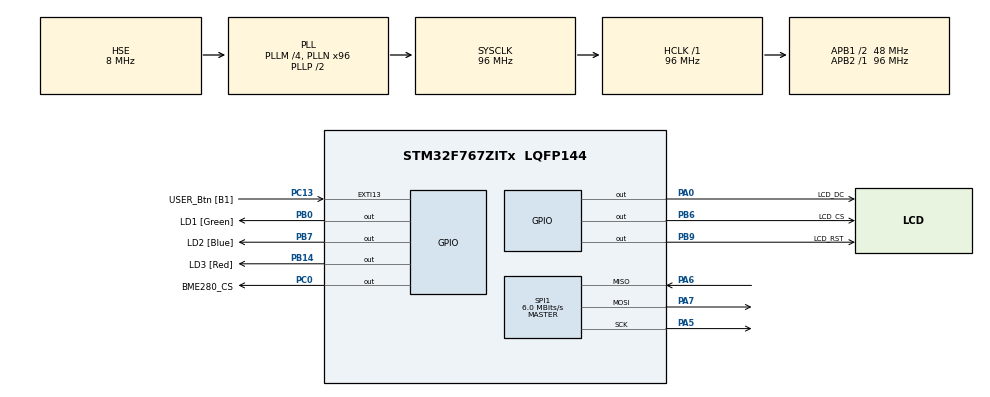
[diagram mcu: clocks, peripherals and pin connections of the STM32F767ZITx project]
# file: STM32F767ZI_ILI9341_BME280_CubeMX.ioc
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CORTEX_M7.default_mode_Activation=1
Mcu.Family=STM32F7
Mcu.Name=STM32F767ZITx
Mcu.Package=LQFP144
NVIC.PriorityGroup=NVIC_PRIORITYGROUP_4
NVIC.TIM6_DAC_IRQn=true\:0\:0\:false\:false\:true\:true\:true\:true
PA0/WKUP.GPIO_Label=LCD_DC
PA0/WKUP.Signal=GPIO_Output
PA13.GPIO_Label=TMS
PA13.Mode=Serial_Wire
PA13.Signal=SYS_JTMS-SWDIO
PA14.GPIO_Label=TCK
PA14.Mode=Serial_Wire
PA14.Signal=SYS_JTCK-SWCLK
PA5.Mode=Full_Duplex_Master
PA5.Signal=SPI1_SCK
PA6.Mode=Full_Duplex_Master
PA6.Signal=SPI1_MISO
PA7.Mode=Full_Duplex_Master
PA7.Signal=SPI1_MOSI
PB0.GPIO_Label=LD1 [Green]
PB0.Signal=GPIO_Output
PB14.GPIO_Label=LD3 [Red]
PB14.Signal=GPIO_Output
PB3.GPIO_Label=SWO
PB3.Signal=SYS_JTDO-SWO
PB6.GPIO_Label=LCD_CS
PB6.PinState=GPIO_PIN_SET
PB6.Signal=GPIO_Output
PB7.GPIO_Label=LD2 [Blue]
PB7.Signal=GPIO_Output
PB9.GPIO_Label=LCD_RST
PB9.PinState=GPIO_PIN_SET
PB9.Signal=GPIO_Output
PC0.GPIO_Label=BME280_CS
PC0.PinState=GPIO_PIN_SET
PC0.Signal=GPIO_Output
PC13.GPIO_Label=USER_Btn [B1]
PC13.Signal=GPXTI13
PC14/OSC32_IN.Mode=LSE-External-Oscillator
PC14/OSC32_IN.Signal=RCC_OSC32_IN
PC15/OSC32_OUT.Mode=LSE-External-Oscillator
PC15/OSC32_OUT.Signal=RCC_OSC32_OUT
PH0/OSC_IN.GPIO_Label=MCO [STM32F103CBT6_PA8]
PH0/OSC_IN.Mode=HSE-External-Clock-Source
PH0/OSC_IN.Signal=RCC_OSC_IN
PH1/OSC_OUT.Mode=HSE-External-Clock-Source
PH1/OSC_OUT.Signal=RCC_OSC_OUT
ProjectManager.HeapSize=0x200
ProjectManager.StackSize=0x400
ProjectManager.TargetToolchain=STM32CubeIDE
RCC.48MHZClocksFreq_Value=24000000
RCC.AHBFreq_Value=96000000
RCC.APB1CLKDivider=RCC_HCLK_DIV2
RCC.APB1Freq_Value=48000000
RCC.APB1TimFreq_Value=96000000
RCC.APB2Freq_Value=96000000
RCC.APB2TimFreq_Value=96000000
RCC.CortexFreq_Value=96000000
RCC.HCLKFreq_Value=96000000
RCC.HSE_VALUE=8000000
RCC.HSI_VALUE=16000000
RCC.PLLM=4
RCC.PLLMUL=RCC_PLL_MUL9
RCC.PLLN=96
RCC.PLLQ=4
RCC.PLLSourceVirtual=RCC_PLLSOURCE_HSE
RCC.PRESCALERUSB=RCC_USBCLKSOURCE_PLL_DIV1_5
RCC.SYSCLKFreq_VALUE=96000000
RCC.SYSCLKSource=RCC_SYSCLKSOURCE_PLLCLK
RCC.SYSCLKSourceVirtual=RCC_SYSCLKSOURCE_PLLCLK
RCC.USBFreq_Value=48000000
RCC.VCOOutputFreq_Value=192000000
SPI1.BaudRatePrescaler=SPI_BAUDRATEPRESCALER_16
SPI1.CalculateBaudRate=6.0 MBits/s
SPI1.DataSize=SPI_DATASIZE_8BIT
SPI1.Direction=SPI_DIRECTION_2LINES
SPI1.Mode=SPI_MODE_MASTER
SPI1.VirtualType=VM_MASTER
TIM6.Period=10000
TIM6.Prescaler=95
VP_TIM6_VS_ClockSourceINT.Mode=Enable_Timer
board=NUCLEO-F767ZI

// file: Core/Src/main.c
/* USER CODE BEGIN Header */
/**
  ******************************************************************************
  * @file           : main.c
  * @brief          : Main program body
  ******************************************************************************
  * @attention
  *
  * Copyright (c) 2026 STMicroelectronics.
  * All rights reserved.
  *
  * This software is licensed under terms that can be found in the LICENSE file
  * in the root directory of this software component.
  * If no LICENSE file comes with this software, it is provided AS-IS.
  *
  ******************************************************************************
  */
/* USER CODE END Header */
#include "main.h"

/* USER CODE BEGIN Includes */
#include "bme.h"
#include "lcd.h"
#include "ProcessImage.h"
/* USER CODE END Includes */

SPI_HandleTypeDef hspi1;

TIM_HandleTypeDef htim6;

/* USER CODE BEGIN PV */
struct ProcessImage pi={0};
/* USER CODE END PV */

void SystemClock_Config(void);
static void MPU_Config(void);
static void MX_GPIO_Init(void);
static void MX_TIM6_Init(void);
static void MX_SPI1_Init(void);

int main(void)
{

  /* MPU Configuration--------------------------------------------------------*/
  MPU_Config();

  /* MCU Configuration--------------------------------------------------------*/

  /* Reset of all peripherals, Initializes the Flash interface and the Systick. */
  HAL_Init();

  /* Configure the system clock */
  SystemClock_Config();

  /* Initialize all configured peripherals */
  MX_GPIO_Init();
  MX_TIM6_Init();
  MX_SPI1_Init();
  /* USER CODE BEGIN 2 */
  HAL_TIM_Base_Start_IT(&htim6);
  init_BME();
  init_LCD();
  /* USER CODE END 2 */

  /* Infinite loop */
  while (1)
  {

    /* USER CODE BEGIN 3 */
    cyclic_BME(&pi.bme280);
    cyclic_LCD(&pi);
    HAL_Delay(1000);
  }
  /* USER CODE END 3 */
}

void SystemClock_Config(void)
{
  RCC_OscInitTypeDef RCC_OscInitStruct = {0};
  RCC_ClkInitTypeDef RCC_ClkInitStruct = {0};

  /** Configure LSE Drive Capability
  */
  HAL_PWR_EnableBkUpAccess();

  /** Configure the main internal regulator output voltage
  */
  __HAL_RCC_PWR_CLK_ENABLE();
  __HAL_PWR_VOLTAGESCALING_CONFIG(PWR_REGULATOR_VOLTAGE_SCALE3);

  /** Initializes the RCC Oscillators according to the specified parameters
  * in the RCC_OscInitTypeDef structure.
  */
  RCC_OscInitStruct.OscillatorType = RCC_OSCILLATORTYPE_HSE;
  RCC_OscInitStruct.HSEState = RCC_HSE_BYPASS;
  RCC_OscInitStruct.PLL.PLLState = RCC_PLL_ON;
  RCC_OscInitStruct.PLL.PLLSource = RCC_PLLSOURCE_HSE;
  RCC_OscInitStruct.PLL.PLLM = 4;
  RCC_OscInitStruct.PLL.PLLN = 96;
  RCC_OscInitStruct.PLL.PLLP = RCC_PLLP_DIV2;
  RCC_OscInitStruct.PLL.PLLQ = 4;
  RCC_OscInitStruct.PLL.PLLR = 2;
  if (HAL_RCC_OscConfig(&RCC_OscInitStruct) != HAL_OK)
  {
    Error_Handler();
  }

  /** Activate the Over-Drive mode
  */
  if (HAL_PWREx_EnableOverDrive() != HAL_OK)
  {
    Error_Handler();
  }

  /** Initializes the CPU, AHB and APB buses clocks
  */
  RCC_ClkInitStruct.ClockType = RCC_CLOCKTYPE_HCLK|RCC_CLOCKTYPE_SYSCLK
                              |RCC_CLOCKTYPE_PCLK1|RCC_CLOCKTYPE_PCLK2;
  RCC_ClkInitStruct.SYSCLKSource = RCC_SYSCLKSOURCE_PLLCLK;
  RCC_ClkInitStruct.AHBCLKDivider = RCC_SYSCLK_DIV1;
  RCC_ClkInitStruct.APB1CLKDivider = RCC_HCLK_DIV2;
  RCC_ClkInitStruct.APB2CLKDivider = RCC_HCLK_DIV1;

  if (HAL_RCC_ClockConfig(&RCC_ClkInitStruct, FLASH_LATENCY_3) != HAL_OK)
  {
    Error_Handler();
  }
}

static void MX_SPI1_Init(void)
{

  /* SPI1 parameter configuration*/
  hspi1.Instance = SPI1;
  hspi1.Init.Mode = SPI_MODE_MASTER;
  hspi1.Init.Direction = SPI_DIRECTION_2LINES;
  hspi1.Init.DataSize = SPI_DATASIZE_8BIT;
  hspi1.Init.CLKPolarity = SPI_POLARITY_LOW;
  hspi1.Init.CLKPhase = SPI_PHASE_1EDGE;
  hspi1.Init.NSS = SPI_NSS_SOFT;
  hspi1.Init.BaudRatePrescaler = SPI_BAUDRATEPRESCALER_16;
  hspi1.Init.FirstBit = SPI_FIRSTBIT_MSB;
  hspi1.Init.TIMode = SPI_TIMODE_DISABLE;
  hspi1.Init.CRCCalculation = SPI_CRCCALCULATION_DISABLE;
  hspi1.Init.CRCPolynomial = 7;
  hspi1.Init.CRCLength = SPI_CRC_LENGTH_DATASIZE;
  hspi1.Init.NSSPMode = SPI_NSS_PULSE_ENABLE;
  if (HAL_SPI_Init(&hspi1) != HAL_OK)
  {
    Error_Handler();
  }

}

static void MX_TIM6_Init(void)
{

  TIM_MasterConfigTypeDef sMasterConfig = {0};

  htim6.Instance = TIM6;
  htim6.Init.Prescaler = 95;
  htim6.Init.CounterMode = TIM_COUNTERMODE_UP;
  htim6.Init.Period = 10000;
  htim6.Init.AutoReloadPreload = TIM_AUTORELOAD_PRELOAD_DISABLE;
  if (HAL_TIM_Base_Init(&htim6) != HAL_OK)
  {
    Error_Handler();
  }
  sMasterConfig.MasterOutputTrigger = TIM_TRGO_RESET;
  sMasterConfig.MasterSlaveMode = TIM_MASTERSLAVEMODE_DISABLE;
  if (HAL_TIMEx_MasterConfigSynchronization(&htim6, &sMasterConfig) != HAL_OK)
  {
    Error_Handler();
  }
  /* USER CODE BEGIN TIM6_Init 2 */
  HAL_TIM_Base_Start_IT(&htim6);
  /* USER CODE END TIM6_Init 2 */

}

static void MX_GPIO_Init(void)
{
  GPIO_InitTypeDef GPIO_InitStruct = {0};

  /* GPIO Ports Clock Enable */
  __HAL_RCC_GPIOC_CLK_ENABLE();
  __HAL_RCC_GPIOH_CLK_ENABLE();
  __HAL_RCC_GPIOA_CLK_ENABLE();
  __HAL_RCC_GPIOB_CLK_ENABLE();

  /*Configure GPIO pin Output Level */
  HAL_GPIO_WritePin(BME280_CS_GPIO_Port, BME280_CS_Pin, GPIO_PIN_SET);

  /*Configure GPIO pin Output Level */
  HAL_GPIO_WritePin(LCD_DC_GPIO_Port, LCD_DC_Pin, GPIO_PIN_RESET);

  /*Configure GPIO pin Output Level */
  HAL_GPIO_WritePin(GPIOB, LD1_Pin|LD3_Pin|LD2_Pin, GPIO_PIN_RESET);

  /*Configure GPIO pin Output Level */
  HAL_GPIO_WritePin(GPIOB, LCD_CS_Pin|LCD_RST_Pin, GPIO_PIN_SET);

  /*Configure GPIO pin : USER_Btn_Pin */
  GPIO_InitStruct.Pin = USER_Btn_Pin;
  GPIO_InitStruct.Mode = GPIO_MODE_IT_RISING;
  GPIO_InitStruct.Pull = GPIO_NOPULL;
  HAL_GPIO_Init(USER_Btn_GPIO_Port, &GPIO_InitStruct);

  /*Configure GPIO pin : BME280_CS_Pin */
  GPIO_InitStruct.Pin = BME280_CS_Pin;
  GPIO_InitStruct.Mode = GPIO_MODE_OUTPUT_PP;
  GPIO_InitStruct.Pull = GPIO_NOPULL;
  GPIO_InitStruct.Speed = GPIO_SPEED_FREQ_LOW;
  HAL_GPIO_Init(BME280_CS_GPIO_Port, &GPIO_InitStruct);

  /*Configure GPIO pin : LCD_DC_Pin */
  GPIO_InitStruct.Pin = LCD_DC_Pin;
  GPIO_InitStruct.Mode = GPIO_MODE_OUTPUT_PP;
  GPIO_InitStruct.Pull = GPIO_NOPULL;
  GPIO_InitStruct.Speed = GPIO_SPEED_FREQ_LOW;
  HAL_GPIO_Init(LCD_DC_GPIO_Port, &GPIO_InitStruct);

  /*Configure GPIO pins : LD1_Pin LD3_Pin LCD_CS_Pin LD2_Pin
                           LCD_RST_Pin */
  GPIO_InitStruct.Pin = LD1_Pin|LD3_Pin|LCD_CS_Pin|LD2_Pin
                          |LCD_RST_Pin;
  GPIO_InitStruct.Mode = GPIO_MODE_OUTPUT_PP;
  GPIO_InitStruct.Pull = GPIO_NOPULL;
  GPIO_InitStruct.Speed = GPIO_SPEED_FREQ_LOW;
  HAL_GPIO_Init(GPIOB, &GPIO_InitStruct);

}

/* USER CODE BEGIN 4 */
void HAL_TIM_PeriodElapsedCallback(TIM_HandleTypeDef *htim)
{
  if (htim->Instance == TIM6)
  {
    static uint32_t cntr = 0;
    if (cntr % 100 == 0)
      HAL_GPIO_TogglePin(LD1_GPIO_Port, LD1_Pin);
    cntr++;
  }
}
/* USER CODE END 4 */

 /* MPU Configuration */

void MPU_Config(void)
{
  MPU_Region_InitTypeDef MPU_InitStruct = {0};

  /* Disables the MPU */
  HAL_MPU_Disable();

  /** Initializes and configures the Region and the memory to be protected
  */
  MPU_InitStruct.Enable = MPU_REGION_ENABLE;
  MPU_InitStruct.Number = MPU_REGION_NUMBER0;
  MPU_InitStruct.BaseAddress = 0x0;
  MPU_InitStruct.Size = MPU_REGION_SIZE_4GB;
  MPU_InitStruct.SubRegionDisable = 0x87;
  MPU_InitStruct.TypeExtField = MPU_TEX_LEVEL0;
  MPU_InitStruct.AccessPermission = MPU_REGION_NO_ACCESS;
  MPU_InitStruct.DisableExec = MPU_INSTRUCTION_ACCESS_DISABLE;
  MPU_InitStruct.IsShareable = MPU_ACCESS_SHAREABLE;
  MPU_InitStruct.IsCacheable = MPU_ACCESS_NOT_CACHEABLE;
  MPU_InitStruct.IsBufferable = MPU_ACCESS_NOT_BUFFERABLE;

  HAL_MPU_ConfigRegion(&MPU_InitStruct);
  /* Enables the MPU */
  HAL_MPU_Enable(MPU_PRIVILEGED_DEFAULT);

}

void Error_Handler(void)
{
  __disable_irq();
  while (1)
  {
  }
}
